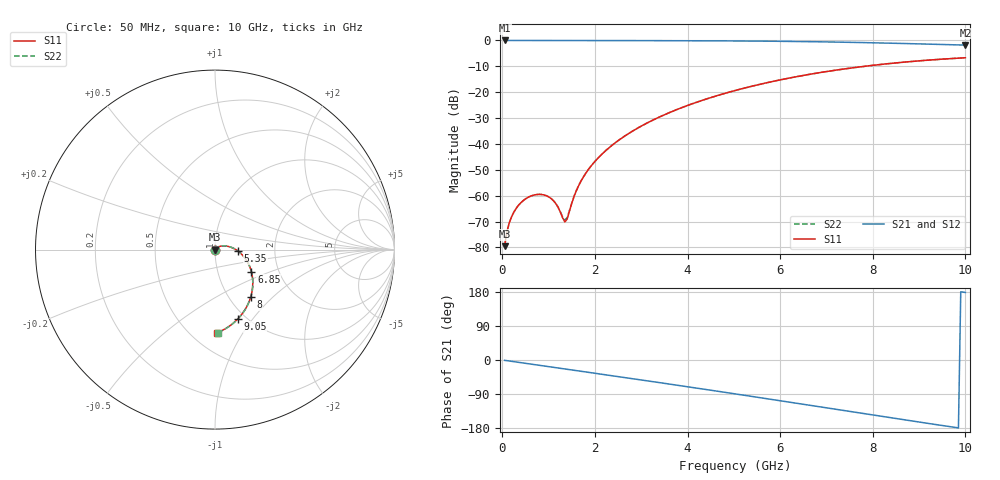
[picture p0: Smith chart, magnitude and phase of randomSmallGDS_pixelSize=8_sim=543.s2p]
! freq	dB(S11)	phase(S11)	dB(S12)	phase(S12)
!  dB(S21)	phase(S21)	dB(S22)	phase(S22)
!S-par simulation data
#  GHz  S  DB  R 50
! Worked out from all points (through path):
!   200 points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, 50 MHz to 10 GHz, reference 50 ohm
!   highest |S21| = 0.00 dB at 50 MHz (marker M1); lowest = -1.8 dB at 10 GHz (marker M2)
!   group delay of S21, straight-line fit = 50.8 ps
!   lowest |S11| = -79.5 dB at 50 MHz (marker M3), VSWR 1.00, Z = 50 - j0.00997 ohm
!   |S11| at or under -10 dB: start of sweep to 7.82 GHz
!   |S22| runs from -79.5 to -6.7 dB; largest |S21 - S12| = 0
!   S11 on the Smith chart (normalised r, x): 50 MHz: 1.00, -0.00; 5.35 GHz: 1.29, -0.02; 6.85 GHz: 1.45, -0.38; 8 GHz: 1.25, -0.74; 9.05 GHz: 0.91, -0.85; 10 GHz: 0.66, -0.78
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0.05  -79.52 -70.7  -0.00 -0.9  -0.00 -0.9  -79.52 -70.7
0.1  -73.94 -81.5  -0.00 -1.8  -0.00 -1.8  -73.95 -81.6
0.2  -68.17 -88.8  -0.00 -3.5  -0.00 -3.5  -68.17 -88.9
0.45  -61.93 -97.1  -0.01 -7.9  -0.01 -7.9  -61.94 -97.4
0.75  -59.54 -105.7  -0.02 -13.2  -0.02 -13.2  -59.55 -106.1
1  -60.44 -115.3  -0.02 -17.5  -0.02 -17.5  -60.43 -116.2
1.15  -62.92 -125.8  -0.02 -20.1  -0.02 -20.1  -62.87 -127.3
1.35  -70.17 171.7  -0.03 -23.6  -0.03 -23.6  -69.50 170.4
1.4  -69.07 135.7  -0.03 -24.5  -0.03 -24.5  -68.45 136.9
1.6  -58.04 83.0  -0.03 -28.0  -0.03 -28.0  -57.94 84.5
1.75  -52.81 73.2  -0.04 -30.6  -0.04 -30.6  -52.77 74.2
2.05  -45.79 62.6  -0.04 -35.9  -0.04 -35.9  -45.77 63.2
2.4  -40.10 53.8  -0.05 -42.0  -0.05 -42.0  -40.09 54.3
3.4  -29.53 33.2  -0.08 -59.8  -0.08 -59.8  -29.53 33.5
5.05  -19.24 2.2  -0.19 -89.8  -0.19 -89.8  -19.24 2.3
5.35  -17.86 -3.4  -0.22 -95.3  -0.22 -95.3  -17.86 -3.3
6.7  -12.90 -28.8  -0.48 -120.7  -0.48 -120.7  -12.89 -28.6
6.85  -12.45 -31.6  -0.52 -123.5  -0.52 -123.5  -12.45 -31.4
8  -9.62 -52.9  -0.90 -145.2  -0.90 -145.2  -9.62 -52.8
8.35  -8.94 -59.3  -1.04 -151.8  -1.04 -151.8  -8.94 -59.2
9.05  -7.81 -71.9  -1.35 -164.7  -1.35 -164.7  -7.81 -71.8
10  -6.69 -88.4  -1.79 178.2  -1.79 178.2  -6.69 -88.3
